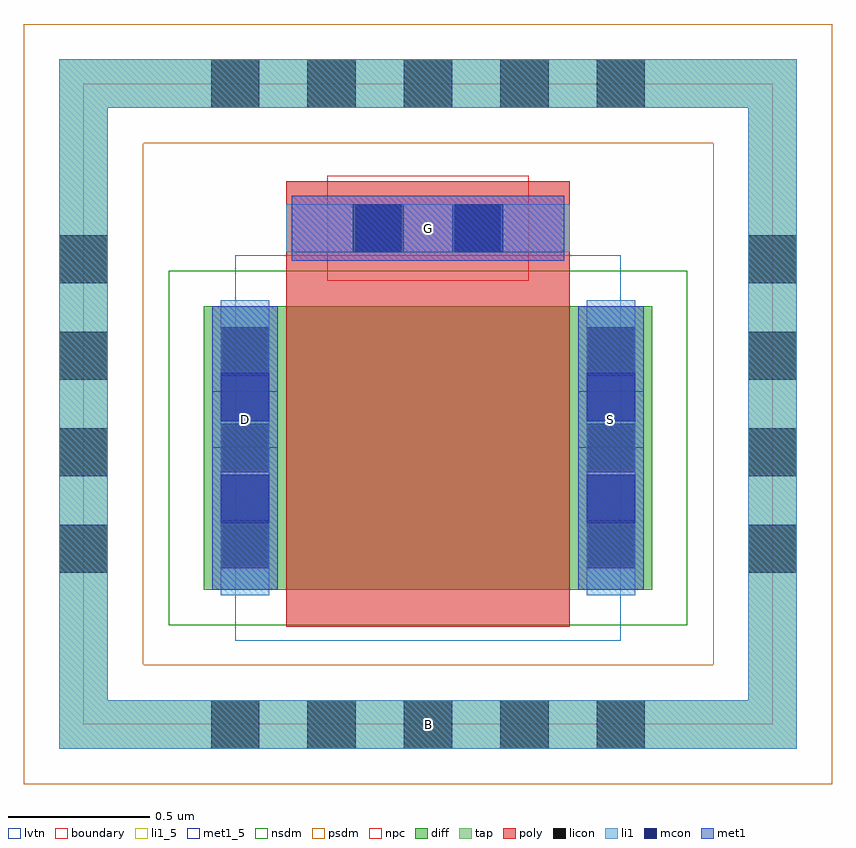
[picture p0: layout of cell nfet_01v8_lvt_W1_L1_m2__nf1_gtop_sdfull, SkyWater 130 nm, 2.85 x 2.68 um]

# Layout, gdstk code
import gdstk
lib = gdstk.Library(unit=1e-6, precision=1e-09)
def R(c, l, rs):  # rectangles x0, y0, x1, y1
    for r in rs: c.add(gdstk.rectangle(r[:2], r[2:], *l))
def A(c, l, x, y, w, h, nx, ny, dx, dy):  # array of equal rectangles
    R(c, l, [(x+i*dx, y+j*dy, x+i*dx+w, y+j*dy+h) for i in range(nx) for j in range(ny)])
diff = (65, 20)
tap = (65, 44)
poly = (66, 20)
licon = (66, 44)
li1_5 = (67, 5)
li1 = (67, 20)
mcon = (67, 44)
met1_5 = (68, 5)
met1 = (68, 20)
nsdm = (93, 44)
psdm = (94, 20)
npc = (95, 20)
lvtn = (125, 44)
boundary = (235, 4)

sky130_fd_pr__nfet_01v8_ = lib.new_cell('sky130_fd_pr__nfet_01v8_lvt_9AG4VZ')
R(sky130_fd_pr__nfet_01v8_, diff, [(-0.79,-0.655,0.79,0.345)])
R(sky130_fd_pr__nfet_01v8_, tap, [(-1.3,-1.215,1.3,-1.045), (-1.3,-1.045,-1.13,1.045), (1.13,-1.045,1.3,1.045), (-1.3,1.045,1.3,1.215)])
R(sky130_fd_pr__nfet_01v8_, poly, [(-0.5,-0.785,0.5,0.785)])
A(sky130_fd_pr__nfet_01v8_, licon, -0.765, -1.215, 0.17, 0.17, 5, 2, 0.34, 2.26)
A(sky130_fd_pr__nfet_01v8_, licon, -1.3, -0.595, 0.17, 0.17, 1, 4, 0, 0.34)
A(sky130_fd_pr__nfet_01v8_, licon, 1.13, -0.595, 0.17, 0.17, 1, 4, 0, 0.34)
A(sky130_fd_pr__nfet_01v8_, licon, -0.73, -0.58, 0.17, 0.17, 1, 3, 0, 0.34)
A(sky130_fd_pr__nfet_01v8_, licon, 0.56, -0.58, 0.17, 0.17, 1, 3, 0, 0.34)
R(sky130_fd_pr__nfet_01v8_, licon, [(-0.255,0.535,-0.085,0.705), (0.085,0.535,0.255,0.705)])
R(sky130_fd_pr__nfet_01v8_, li1, [(-1.3,-1.215,1.3,-1.045), (-1.3,-1.045,-1.13,1.045), (1.13,-1.045,1.3,1.045), (-0.73,-0.675,-0.56,0.365), (0.56,-0.675,0.73,0.365), (-0.5,0.535,0.5,0.705), (-1.3,1.045,1.3,1.215)])
R(sky130_fd_pr__nfet_01v8_, mcon, [(-0.73,-0.42,-0.56,-0.25), (0.56,-0.42,0.73,-0.25), (-0.73,-0.06,-0.56,0.11), (0.56,-0.06,0.73,0.11), (-0.265,0.535,-0.095,0.705), (0.095,0.535,0.265,0.705)])
R(sky130_fd_pr__nfet_01v8_, met1, [(-0.76,-0.655,-0.53,0.345), (0.53,-0.655,0.76,0.345), (-0.48,0.505,0.48,0.735)])
R(sky130_fd_pr__nfet_01v8_, nsdm, [(-0.915,-0.78,0.915,0.47)])
R(sky130_fd_pr__nfet_01v8_, psdm, [(-1.425,-1.34,1.425,-0.92), (-1.425,-0.92,-1.005,0.92), (1.005,-0.92,1.425,0.92), (-1.425,0.92,1.425,1.34)])
R(sky130_fd_pr__nfet_01v8_, npc, [(-0.355,0.435,0.355,0.805)])
R(sky130_fd_pr__nfet_01v8_, lvtn, [(-0.68,-0.835,0.68,0.525)])
R(sky130_fd_pr__nfet_01v8_, boundary, [(-1.215,-1.13,1.215,1.13)])
sky130_fd_pr__nfet_01v8_.add(gdstk.Label('B', (0,-1.13), layer=67, texttype=5))
sky130_fd_pr__nfet_01v8_.add(gdstk.Label('D', (-0.645,-0.155), layer=67, texttype=5))
sky130_fd_pr__nfet_01v8_.add(gdstk.Label('S', (0.645,-0.155), layer=67, texttype=5))
sky130_fd_pr__nfet_01v8_.add(gdstk.Label('G', (0,0.62), layer=67, texttype=5))

nfet_01v8_lvt_w1_l1_m2__ = lib.new_cell('nfet_01v8_lvt_W1_L1_m2__nf1_gtop_sdfull')
R(nfet_01v8_lvt_w1_l1_m2__, li1_5, [(1.13,-0.085,1.3,0.085)])
R(nfet_01v8_lvt_w1_l1_m2__, li1, [(1.13,-0.085,1.3,0.085)])
R(nfet_01v8_lvt_w1_l1_m2__, met1_5, [(0.455,0.975,0.685,1.175), (1.745,0.975,1.975,1.175), (0.735,1.635,1.695,1.865)])
R(nfet_01v8_lvt_w1_l1_m2__, met1, [(0.455,0.975,0.685,1.175), (1.745,0.975,1.975,1.175), (0.735,1.635,1.695,1.865)])
nfet_01v8_lvt_w1_l1_m2__.add(gdstk.Reference(sky130_fd_pr__nfet_01v8_, (1.215,1.13)))
nfet_01v8_lvt_w1_l1_m2__.add(gdstk.Label('D', (0.57,1.075), layer=68, texttype=5))
nfet_01v8_lvt_w1_l1_m2__.add(gdstk.Label('S', (1.86,1.075), layer=68, texttype=5))
nfet_01v8_lvt_w1_l1_m2__.add(gdstk.Label('G', (1.215,1.75), layer=68, texttype=5))
nfet_01v8_lvt_w1_l1_m2__.add(gdstk.Label('B', (1.215,0), layer=67, texttype=5))

lib.write_gds('nfet_01v8_lvt_W1_L1_m2__nf1_gtop_sdfull.gds')
